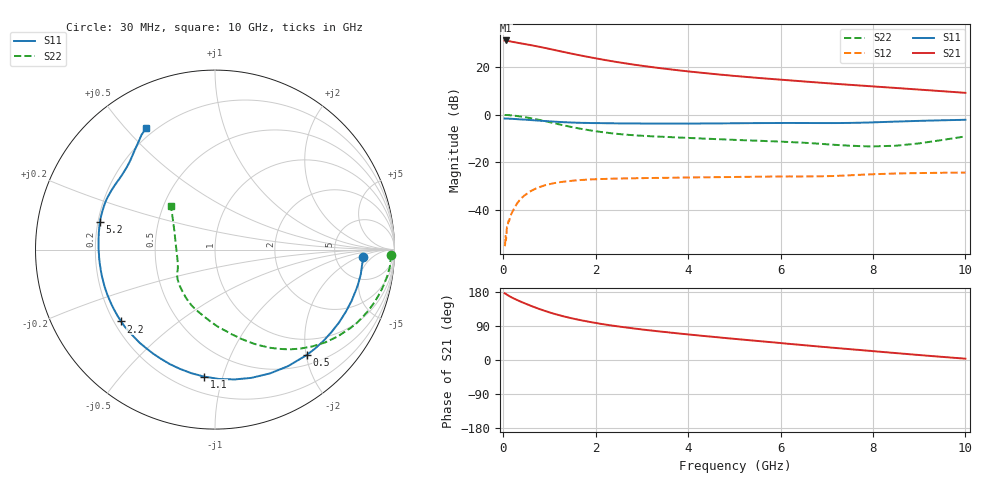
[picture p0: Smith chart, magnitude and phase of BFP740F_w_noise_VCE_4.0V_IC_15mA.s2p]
! Infineon Technologies  Discrete & RF Semiconductors
! BFP740F
! VCE =  4.0 V,  IC =  15 mA
! Common Emitter S-Parameters:  Oct 2012
# GHz  S  MA  R  50
!  f  S11  S21  S12  S22
! GHz  MAG  ANG  MAG  ANG  MAG  ANG  MAG  ANG
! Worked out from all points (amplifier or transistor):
!   99 points, 30 MHz to 10 GHz, reference 50 ohm
!   highest |S21| = 31.2 dB at 50 MHz (marker M1)
!   |S21| within 3 dB of that: start of sweep to 866.4 MHz
!   unconditionally stable (mu >= 1): 6.23 GHz to end of sweep
!   at 350 MHz: K = 0.14, MSG = 33.1 dB, |S12| = -36.1 dB
!   at 3.5 GHz: K = 0.60, MSG = 23.0 dB, |S12| = -26.6 dB
!   at 10 GHz: K = 1.23, MAG = 13.9 dB, |S12| = -24.4 dB
!   lowest NFmin = 0.53 dB at 450 MHz
!   S11 on the Smith chart (normalised r, x): 30 MHz: 10, -3; 500 MHz: 0.67, -2.01; 1.1 GHz: 0.31, -0.87; 2.2 GHz: 0.23, -0.32; 5.2 GHz: 0.21, +0.11; 10 GHz: 0.17, +0.57
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0.03  0.8273 -3.0  36.26 176.2  0.0017 65.5  0.9799 -1.7
0.05  0.8246 -5.2  36.32 174.8  0.0028 58.3  0.9811 -3.2
0.15  0.8176 -15.7  34.84 167.3  0.0072 77.1  0.9671 -9.8
0.25  0.8067 -25.7  33.34 161.1  0.0112 74.0  0.9451 -16.0
0.35  0.7952 -35.3  31.93 155.5  0.0156 70.2  0.9188 -21.8
0.5  0.7786 -49.0  30.06 147.9  0.0212 63.9  0.8726 -30.0
0.6  0.7664 -57.9  28.92 142.9  0.0247 59.5  0.8383 -35.2
0.8  0.7429 -74.1  26.52 133.8  0.0301 52.4  0.7659 -44.7
0.9  0.7316 -81.4  25.31 129.7  0.0325 49.0  0.7287 -49.2
1.1  0.7104 -94.8  22.99 122.0  0.036 43.2  0.658 -57.2
1.4  0.6858 -111.6  19.89 112.4  0.0396 36.5  0.5687 -67.4
1.7  0.6694 -125.3  17.36 104.5  0.0421 31.5  0.4979 -76.2
1.9  0.6638 -132.8  15.94 99.9  0.0432 28.8  0.4615 -81.7
2.2  0.6588 -142.6  14.09 93.7  0.0442 25.5  0.4206 -89.6
2.8  0.6503 -157.2  11.36 83.6  0.0456 21.2  0.3693 -101.6
3.4  0.6469 -168.3  9.483 75.1  0.0466 18.8  0.3427 -110.8
4.2  0.6482 179.7  7.743 65.1  0.0477 16.8  0.3167 -119.8
5.1  0.6582 167.7  6.395 54.7  0.0488 15.6  0.2912 -129.7
5.2  0.659 166.6  6.273 53.6  0.0489 15.6  0.2888 -130.7
6.7  0.6637 148.6  4.818 37.0  0.05 15.2  0.2486 -147.9
8.5  0.712 128.9  3.63 18.2  0.0576 15.1  0.2211 171.7
10  0.777 119.7  2.869 3.5  0.0602 11.3  0.3469 135.1
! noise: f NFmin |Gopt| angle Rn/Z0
0.45  0.53  0.1  7  0.57
0.9  0.59  0.1  17  0.24
1.5  0.65  0.1  30  0.04
1.9  0.7  0.1  43  0.03
2.4  0.74  0.1  60  0.03
3.5  0.85  0.09  78  0.13
5.5  1.03  0.07  170  0.18
10  1.4  0.38  -111  0.12
